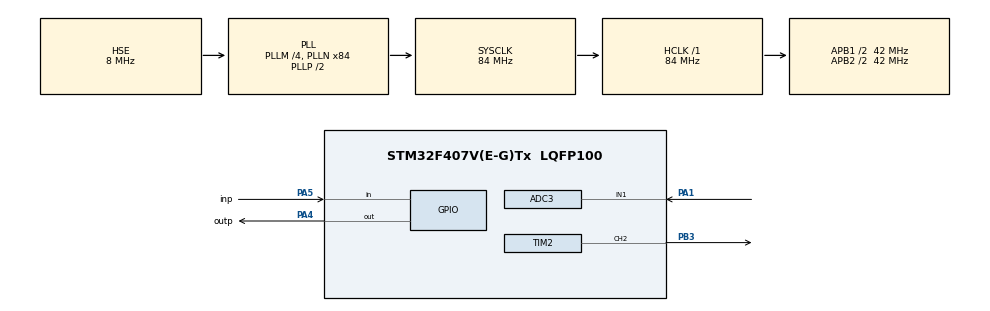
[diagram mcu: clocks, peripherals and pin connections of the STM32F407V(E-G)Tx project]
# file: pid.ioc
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ADC3.Channel-0\#ChannelRegularConversion=ADC_CHANNEL_1
ADC3.NbrOfConversionFlag=1
ADC3.Rank-0\#ChannelRegularConversion=1
ADC3.SamplingTime-0\#ChannelRegularConversion=ADC_SAMPLETIME_480CYCLES
Mcu.Family=STM32F4
Mcu.Name=STM32F407V(E-G)Tx
Mcu.Package=LQFP100
NVIC.PriorityGroup=NVIC_PRIORITYGROUP_0
NVIC.TIM2_IRQn=true\:0\:0\:false\:false\:true\:true\:true\:true
NVIC.TIM3_IRQn=true\:0\:0\:false\:false\:true\:true\:true\:true
PA1.Signal=ADCx_IN1
PA4.GPIO_Label=outp
PA4.Signal=GPIO_Output
PA5.GPIO_Label=inp
PA5.Signal=GPIO_Input
PB3.Signal=S_TIM2_CH2
PH0-OSC_IN.Mode=HSE-External-Oscillator
PH0-OSC_IN.Signal=RCC_OSC_IN
PH1-OSC_OUT.Mode=HSE-External-Oscillator
PH1-OSC_OUT.Signal=RCC_OSC_OUT
ProjectManager.HeapSize=0x200
ProjectManager.StackSize=0x400
ProjectManager.TargetToolchain=STM32CubeIDE
RCC.48MHZClocksFreq_Value=24000000
RCC.AHBFreq_Value=84000000
RCC.APB1CLKDivider=RCC_HCLK_DIV2
RCC.APB1Freq_Value=42000000
RCC.APB1TimFreq_Value=84000000
RCC.APB2CLKDivider=RCC_HCLK_DIV2
RCC.APB2Freq_Value=42000000
RCC.APB2TimFreq_Value=84000000
RCC.CortexFreq_Value=84000000
RCC.HCLKFreq_Value=84000000
RCC.HSE_VALUE=8000000
RCC.HSI_VALUE=16000000
RCC.LSE_VALUE=32768
RCC.PLLM=4
RCC.PLLN=84
RCC.PLLQ=7
RCC.PLLSourceVirtual=RCC_PLLSOURCE_HSE
RCC.SYSCLKFreq_VALUE=84000000
RCC.SYSCLKSource=RCC_SYSCLKSOURCE_PLLCLK
RCC.VCOOutputFreq_Value=168000000
SH.ADCx_IN1.0=ADC3_IN1,IN1
SH.S_TIM2_CH2.0=TIM2_CH2,PWM Generation2 CH2
TIM2.Channel-PWM\ Generation2\ CH2=TIM_CHANNEL_2
TIM2.Period=1000-1
TIM2.Prescaler=84-1
TIM3.Period=999
TIM3.Prescaler=83
VP_TIM3_VS_ClockSourceINT.Mode=Internal
board=STM32F407G-DISC1

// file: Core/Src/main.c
/* USER CODE BEGIN Header */
/**
  ******************************************************************************
  * @file           : main.c
  * @brief          : Main program body
  ******************************************************************************
  * @attention
  *
  * Copyright (c) 2024 STMicroelectronics.
  * All rights reserved.
  *
  * This software is licensed under terms that can be found in the LICENSE file
  * in the root directory of this software component.
  * If no LICENSE file comes with this software, it is provided AS-IS.
  *
  ******************************************************************************
  */
/* USER CODE END Header */
#include "main.h"

/* USER CODE BEGIN Includes */
#include "dwt_stm32_delay.h"
/* USER CODE END Includes */

ADC_HandleTypeDef hadc3;

TIM_HandleTypeDef htim2;
TIM_HandleTypeDef htim3;

/* USER CODE BEGIN PV */
int i=0;
uint32_t time=0;
uint32_t localTime=0;
int distance=0;

float Kp = 5.0f;
float Ki = 0.1f;
float Kd = 0.005f;

int setpoint = 10; // Hedef RPM
float integral = 0.0f;
float previous_error = 0.0f;
float get_ADC=0;
float error=0;
int output=0;
float derivative=0;

/* USER CODE END PV */

void SystemClock_Config(void);
static void MX_GPIO_Init(void);
static void MX_TIM2_Init(void);
static void MX_TIM3_Init(void);
static void MX_ADC3_Init(void);

/* USER CODE BEGIN 0 */
uint32_t Read_HCSR04(void){
	uint32_t localTime=0;

	  HAL_GPIO_WritePin(outp_GPIO_Port, outp_Pin, 1);
	  DWT_Delay_us(10);
	  HAL_GPIO_WritePin(outp_GPIO_Port, outp_Pin, 0);

	  while(HAL_GPIO_ReadPin(inp_GPIO_Port,inp_Pin)==0);

	  while(HAL_GPIO_ReadPin(inp_GPIO_Port,inp_Pin)==1){
		  localTime++;
		  DWT_Delay_us(1);
	  }
	  return localTime;
}

void PID_Control(void) {
	float distanceValue = Read_HCSR04();
     distance =distanceValue*0.034/2;
     error = (-30)*(setpoint - distance);
     integral += error;
     derivative = error - previous_error;
     output = Kp * error + Ki * integral + Kd * derivative;
     previous_error = error;
     if (output>2000){
     	output=1999;
     	error=0;
     	previous_error=0;
     	integral=0;
     	}
     if(output<300){
         		output=301;
         		error=0;
         		previous_error=0;
         		integral=0;
     }

     __HAL_TIM_SET_COMPARE(&htim2, TIM_CHANNEL_2, (int)output);
     // PWM çıkışını ayarla

 }

/* USER CODE END 0 */

int main(void)
{

  /* MCU Configuration--------------------------------------------------------*/

  /* Reset of all peripherals, Initializes the Flash interface and the Systick. */
  HAL_Init();

  /* USER CODE BEGIN Init */
   DWT_Delay_Init();
  /* USER CODE END Init */

  /* Configure the system clock */
  SystemClock_Config();

  /* Initialize all configured peripherals */
  MX_GPIO_Init();
  MX_TIM2_Init();
  MX_TIM3_Init();
  MX_ADC3_Init();
  /* USER CODE BEGIN 2 */

  HAL_TIM_PWM_Start(&htim2, TIM_CHANNEL_2); // PWM çıkışını başlat
  HAL_TIM_Base_Start_IT(&htim3); // Timer3'ü başlat (interrupt ile)

  /* USER CODE END 2 */

  /* Infinite loop */
  /* USER CODE BEGIN WHILE */
  while (1)
  {
	  PID_Control();
	  HAL_Delay(100);

    /* USER CODE END WHILE */

  }
}

void SystemClock_Config(void)
{
  RCC_OscInitTypeDef RCC_OscInitStruct = {0};
  RCC_ClkInitTypeDef RCC_ClkInitStruct = {0};

  /** Configure the main internal regulator output voltage
  */
  __HAL_RCC_PWR_CLK_ENABLE();
  __HAL_PWR_VOLTAGESCALING_CONFIG(PWR_REGULATOR_VOLTAGE_SCALE1);

  /** Initializes the RCC Oscillators according to the specified parameters
  * in the RCC_OscInitTypeDef structure.
  */
  RCC_OscInitStruct.OscillatorType = RCC_OSCILLATORTYPE_HSE;
  RCC_OscInitStruct.HSEState = RCC_HSE_ON;
  RCC_OscInitStruct.PLL.PLLState = RCC_PLL_ON;
  RCC_OscInitStruct.PLL.PLLSource = RCC_PLLSOURCE_HSE;
  RCC_OscInitStruct.PLL.PLLM = 4;
  RCC_OscInitStruct.PLL.PLLN = 84;
  RCC_OscInitStruct.PLL.PLLP = RCC_PLLP_DIV2;
  RCC_OscInitStruct.PLL.PLLQ = 7;
  if (HAL_RCC_OscConfig(&RCC_OscInitStruct) != HAL_OK)
  {
    Error_Handler();
  }

  /** Initializes the CPU, AHB and APB buses clocks
  */
  RCC_ClkInitStruct.ClockType = RCC_CLOCKTYPE_HCLK|RCC_CLOCKTYPE_SYSCLK
                              |RCC_CLOCKTYPE_PCLK1|RCC_CLOCKTYPE_PCLK2;
  RCC_ClkInitStruct.SYSCLKSource = RCC_SYSCLKSOURCE_PLLCLK;
  RCC_ClkInitStruct.AHBCLKDivider = RCC_SYSCLK_DIV1;
  RCC_ClkInitStruct.APB1CLKDivider = RCC_HCLK_DIV2;
  RCC_ClkInitStruct.APB2CLKDivider = RCC_HCLK_DIV2;

  if (HAL_RCC_ClockConfig(&RCC_ClkInitStruct, FLASH_LATENCY_2) != HAL_OK)
  {
    Error_Handler();
  }
}

static void MX_ADC3_Init(void)
{

  ADC_ChannelConfTypeDef sConfig = {0};

  /** Configure the global features of the ADC (Clock, Resolution, Data Alignment and number of conversion)
  */
  hadc3.Instance = ADC3;
  hadc3.Init.ClockPrescaler = ADC_CLOCK_SYNC_PCLK_DIV2;
  hadc3.Init.Resolution = ADC_RESOLUTION_12B;
  hadc3.Init.ScanConvMode = DISABLE;
  hadc3.Init.ContinuousConvMode = DISABLE;
  hadc3.Init.DiscontinuousConvMode = DISABLE;
  hadc3.Init.ExternalTrigConvEdge = ADC_EXTERNALTRIGCONVEDGE_NONE;
  hadc3.Init.ExternalTrigConv = ADC_SOFTWARE_START;
  hadc3.Init.DataAlign = ADC_DATAALIGN_RIGHT;
  hadc3.Init.NbrOfConversion = 1;
  hadc3.Init.DMAContinuousRequests = DISABLE;
  hadc3.Init.EOCSelection = ADC_EOC_SINGLE_CONV;
  if (HAL_ADC_Init(&hadc3) != HAL_OK)
  {
    Error_Handler();
  }

  /** Configure for the selected ADC regular channel its corresponding rank in the sequencer and its sample time.
  */
  sConfig.Channel = ADC_CHANNEL_1;
  sConfig.Rank = 1;
  sConfig.SamplingTime = ADC_SAMPLETIME_480CYCLES;
  if (HAL_ADC_ConfigChannel(&hadc3, &sConfig) != HAL_OK)
  {
    Error_Handler();
  }

}

static void MX_TIM2_Init(void)
{

  TIM_MasterConfigTypeDef sMasterConfig = {0};
  TIM_OC_InitTypeDef sConfigOC = {0};

  htim2.Instance = TIM2;
  htim2.Init.Prescaler = 84-1;
  htim2.Init.CounterMode = TIM_COUNTERMODE_UP;
  htim2.Init.Period = 1000-1;
  htim2.Init.ClockDivision = TIM_CLOCKDIVISION_DIV1;
  htim2.Init.AutoReloadPreload = TIM_AUTORELOAD_PRELOAD_DISABLE;
  if (HAL_TIM_PWM_Init(&htim2) != HAL_OK)
  {
    Error_Handler();
  }
  sMasterConfig.MasterOutputTrigger = TIM_TRGO_RESET;
  sMasterConfig.MasterSlaveMode = TIM_MASTERSLAVEMODE_DISABLE;
  if (HAL_TIMEx_MasterConfigSynchronization(&htim2, &sMasterConfig) != HAL_OK)
  {
    Error_Handler();
  }
  sConfigOC.OCMode = TIM_OCMODE_PWM1;
  sConfigOC.Pulse = 0;
  sConfigOC.OCPolarity = TIM_OCPOLARITY_HIGH;
  sConfigOC.OCFastMode = TIM_OCFAST_DISABLE;
  if (HAL_TIM_PWM_ConfigChannel(&htim2, &sConfigOC, TIM_CHANNEL_2) != HAL_OK)
  {
    Error_Handler();
  }
  HAL_TIM_MspPostInit(&htim2);

}

static void MX_TIM3_Init(void)
{

  TIM_ClockConfigTypeDef sClockSourceConfig = {0};
  TIM_MasterConfigTypeDef sMasterConfig = {0};

  htim3.Instance = TIM3;
  htim3.Init.Prescaler = 83;
  htim3.Init.CounterMode = TIM_COUNTERMODE_UP;
  htim3.Init.Period = 999;
  htim3.Init.ClockDivision = TIM_CLOCKDIVISION_DIV1;
  htim3.Init.AutoReloadPreload = TIM_AUTORELOAD_PRELOAD_DISABLE;
  if (HAL_TIM_Base_Init(&htim3) != HAL_OK)
  {
    Error_Handler();
  }
  sClockSourceConfig.ClockSource = TIM_CLOCKSOURCE_INTERNAL;
  if (HAL_TIM_ConfigClockSource(&htim3, &sClockSourceConfig) != HAL_OK)
  {
    Error_Handler();
  }
  sMasterConfig.MasterOutputTrigger = TIM_TRGO_RESET;
  sMasterConfig.MasterSlaveMode = TIM_MASTERSLAVEMODE_DISABLE;
  if (HAL_TIMEx_MasterConfigSynchronization(&htim3, &sMasterConfig) != HAL_OK)
  {
    Error_Handler();
  }

}

static void MX_GPIO_Init(void)
{
  GPIO_InitTypeDef GPIO_InitStruct = {0};

  /* GPIO Ports Clock Enable */
  __HAL_RCC_GPIOH_CLK_ENABLE();
  __HAL_RCC_GPIOA_CLK_ENABLE();
  __HAL_RCC_GPIOB_CLK_ENABLE();

  /*Configure GPIO pin Output Level */
  HAL_GPIO_WritePin(outp_GPIO_Port, outp_Pin, GPIO_PIN_RESET);

  /*Configure GPIO pin : outp_Pin */
  GPIO_InitStruct.Pin = outp_Pin;
  GPIO_InitStruct.Mode = GPIO_MODE_OUTPUT_PP;
  GPIO_InitStruct.Pull = GPIO_NOPULL;
  GPIO_InitStruct.Speed = GPIO_SPEED_FREQ_LOW;
  HAL_GPIO_Init(outp_GPIO_Port, &GPIO_InitStruct);

  /*Configure GPIO pin : inp_Pin */
  GPIO_InitStruct.Pin = inp_Pin;
  GPIO_InitStruct.Mode = GPIO_MODE_INPUT;
  GPIO_InitStruct.Pull = GPIO_NOPULL;
  HAL_GPIO_Init(inp_GPIO_Port, &GPIO_InitStruct);

}

void Error_Handler(void)
{
  __disable_irq();
  while (1)
  {
  }
}
